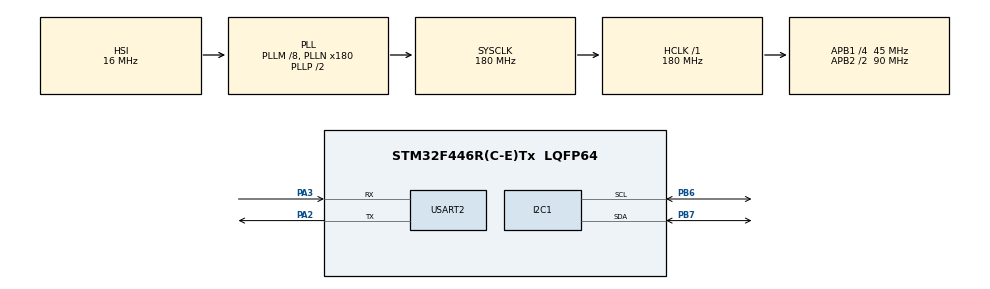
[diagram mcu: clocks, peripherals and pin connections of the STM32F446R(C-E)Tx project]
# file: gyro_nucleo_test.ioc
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Mcu.Family=STM32F4
Mcu.Name=STM32F446R(C-E)Tx
Mcu.Package=LQFP64
NVIC.PriorityGroup=NVIC_PRIORITYGROUP_4
PA2.Mode=Asynchronous
PA2.Signal=USART2_TX
PA3.Mode=Asynchronous
PA3.Signal=USART2_RX
PB6.Mode=I2C
PB6.Signal=I2C1_SCL
PB7.Mode=I2C
PB7.Signal=I2C1_SDA
ProjectManager.HeapSize=0x200
ProjectManager.StackSize=0x400
ProjectManager.TargetToolchain=STM32CubeIDE
RCC.AHBFreq_Value=180000000
RCC.APB1CLKDivider=RCC_HCLK_DIV4
RCC.APB1Freq_Value=45000000
RCC.APB1TimFreq_Value=90000000
RCC.APB2CLKDivider=RCC_HCLK_DIV2
RCC.APB2Freq_Value=90000000
RCC.APB2TimFreq_Value=180000000
RCC.CortexFreq_Value=180000000
RCC.HCLKFreq_Value=180000000
RCC.PLLM=8
RCC.PLLN=180
RCC.SYSCLKFreq_VALUE=180000000
RCC.SYSCLKSource=RCC_SYSCLKSOURCE_PLLCLK
RCC.USBFreq_Value=180000000
RCC.VCOOutputFreq_Value=360000000
USART2.VirtualMode=VM_ASYNC
board=custom

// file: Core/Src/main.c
/* USER CODE BEGIN Header */
/**
 ******************************************************************************
 * @file           : main.c
 * @brief          : Main program body
 ******************************************************************************
 * @attention
 *
 * Copyright (c) 2026 STMicroelectronics.
 * All rights reserved.
 *
 * This software is licensed under terms that can be found in the LICENSE file
 * in the root directory of this software component.
 * If no LICENSE file comes with this software, it is provided AS-IS.
 *
 ******************************************************************************
 */
/* USER CODE END Header */
#include "main.h"

/* USER CODE BEGIN Includes */
#include "MPU6050.h"
#include <stdio.h>
/* USER CODE END Includes */

I2C_HandleTypeDef hi2c1;

UART_HandleTypeDef huart2;

void SystemClock_Config(void);
static void MX_GPIO_Init(void);
static void MX_I2C1_Init(void);
static void MX_USART2_UART_Init(void);

/* USER CODE BEGIN 0 */
// Send printf to uart2
int _write(int fd, char* ptr, int len) {
	HAL_StatusTypeDef hstatus;

	if (fd == 1 || fd == 2) {
		hstatus = HAL_UART_Transmit(&huart2, (uint8_t *) ptr, len, HAL_MAX_DELAY);
		if (hstatus == HAL_OK)
			return len;
		else
			return -1;
	}
	return -1;
}

//uint32_t micros(void)
//{
//    return DWT->CYCCNT / (SystemCoreClock / 1000000);
//}
/* USER CODE END 0 */

int main(void)
{

	/* USER CODE BEGIN 1 */
	CoreDebug->DEMCR |= CoreDebug_DEMCR_TRCENA_Msk; // Enable tracing
	DWT->CYCCNT = 0;                                // Reset counter
	DWT->CTRL |= DWT_CTRL_CYCCNTENA_Msk;            // Enable cycle counter
	/* USER CODE END 1 */

	/* MCU Configuration--------------------------------------------------------*/

	/* Reset of all peripherals, Initializes the Flash interface and the Systick. */
	HAL_Init();

	/* Configure the system clock */
	SystemClock_Config();

	/* Initialize all configured peripherals */
	MX_GPIO_Init();
	MX_I2C1_Init();
	MX_USART2_UART_Init();
	/* USER CODE BEGIN 2 */
	MPU6050_t mpu;

	HAL_Delay(200);

	printf("STM32 Booting...\r\n");
	HAL_Delay(10);

	if(MPU6050_Init(&mpu, &hi2c1, 1, 0)!=0){
		printf("MPU6050 initialization failed!\r\n");
		while(1);
	}

	printf("MPU6050 Initialized\r\n");
	HAL_Delay(2000);

	MPU6050_CalcOffsets(&mpu,1,1);

	mpu.last = micros();

	MPU6050_Update(&mpu);

	/* USER CODE END 2 */

	/* Infinite loop */
	/* USER CODE BEGIN WHILE */
	while (1)
	{
		MPU6050_Update(&mpu);
		static uint32_t t=0;
		if(HAL_GetTick()-t>10){
			t=HAL_GetTick();
			printf("angz: %.3f\r\n", mpu.angleZ);
		}
		/* USER CODE END WHILE */

	}
}

void SystemClock_Config(void)
{
	RCC_OscInitTypeDef RCC_OscInitStruct = {0};
	RCC_ClkInitTypeDef RCC_ClkInitStruct = {0};

	/** Configure the main internal regulator output voltage
	 */
	__HAL_RCC_PWR_CLK_ENABLE();
	__HAL_PWR_VOLTAGESCALING_CONFIG(PWR_REGULATOR_VOLTAGE_SCALE1);

	/** Initializes the RCC Oscillators according to the specified parameters
	 * in the RCC_OscInitTypeDef structure.
	 */
	RCC_OscInitStruct.OscillatorType = RCC_OSCILLATORTYPE_HSI;
	RCC_OscInitStruct.HSIState = RCC_HSI_ON;
	RCC_OscInitStruct.HSICalibrationValue = RCC_HSICALIBRATION_DEFAULT;
	RCC_OscInitStruct.PLL.PLLState = RCC_PLL_ON;
	RCC_OscInitStruct.PLL.PLLSource = RCC_PLLSOURCE_HSI;
	RCC_OscInitStruct.PLL.PLLM = 8;
	RCC_OscInitStruct.PLL.PLLN = 180;
	RCC_OscInitStruct.PLL.PLLP = RCC_PLLP_DIV2;
	RCC_OscInitStruct.PLL.PLLQ = 2;
	RCC_OscInitStruct.PLL.PLLR = 2;
	if (HAL_RCC_OscConfig(&RCC_OscInitStruct) != HAL_OK)
	{
		Error_Handler();
	}

	/** Activate the Over-Drive mode
	 */
	if (HAL_PWREx_EnableOverDrive() != HAL_OK)
	{
		Error_Handler();
	}

	/** Initializes the CPU, AHB and APB buses clocks
	 */
	RCC_ClkInitStruct.ClockType = RCC_CLOCKTYPE_HCLK|RCC_CLOCKTYPE_SYSCLK
			|RCC_CLOCKTYPE_PCLK1|RCC_CLOCKTYPE_PCLK2;
	RCC_ClkInitStruct.SYSCLKSource = RCC_SYSCLKSOURCE_PLLCLK;
	RCC_ClkInitStruct.AHBCLKDivider = RCC_SYSCLK_DIV1;
	RCC_ClkInitStruct.APB1CLKDivider = RCC_HCLK_DIV4;
	RCC_ClkInitStruct.APB2CLKDivider = RCC_HCLK_DIV2;

	if (HAL_RCC_ClockConfig(&RCC_ClkInitStruct, FLASH_LATENCY_5) != HAL_OK)
	{
		Error_Handler();
	}
}

static void MX_I2C1_Init(void)
{

	hi2c1.Instance = I2C1;
	hi2c1.Init.ClockSpeed = 100000;
	hi2c1.Init.DutyCycle = I2C_DUTYCYCLE_2;
	hi2c1.Init.OwnAddress1 = 0;
	hi2c1.Init.AddressingMode = I2C_ADDRESSINGMODE_7BIT;
	hi2c1.Init.DualAddressMode = I2C_DUALADDRESS_DISABLE;
	hi2c1.Init.OwnAddress2 = 0;
	hi2c1.Init.GeneralCallMode = I2C_GENERALCALL_DISABLE;
	hi2c1.Init.NoStretchMode = I2C_NOSTRETCH_DISABLE;
	if (HAL_I2C_Init(&hi2c1) != HAL_OK)
	{
		Error_Handler();
	}

}

static void MX_USART2_UART_Init(void)
{

	huart2.Instance = USART2;
	huart2.Init.BaudRate = 115200;
	huart2.Init.WordLength = UART_WORDLENGTH_8B;
	huart2.Init.StopBits = UART_STOPBITS_1;
	huart2.Init.Parity = UART_PARITY_NONE;
	huart2.Init.Mode = UART_MODE_TX_RX;
	huart2.Init.HwFlowCtl = UART_HWCONTROL_NONE;
	huart2.Init.OverSampling = UART_OVERSAMPLING_16;
	if (HAL_UART_Init(&huart2) != HAL_OK)
	{
		Error_Handler();
	}

}

static void MX_GPIO_Init(void)
{

	/* GPIO Ports Clock Enable */
	__HAL_RCC_GPIOA_CLK_ENABLE();
	__HAL_RCC_GPIOB_CLK_ENABLE();

}

void Error_Handler(void)
{
	__disable_irq();
	while (1)
	{
	}
}
